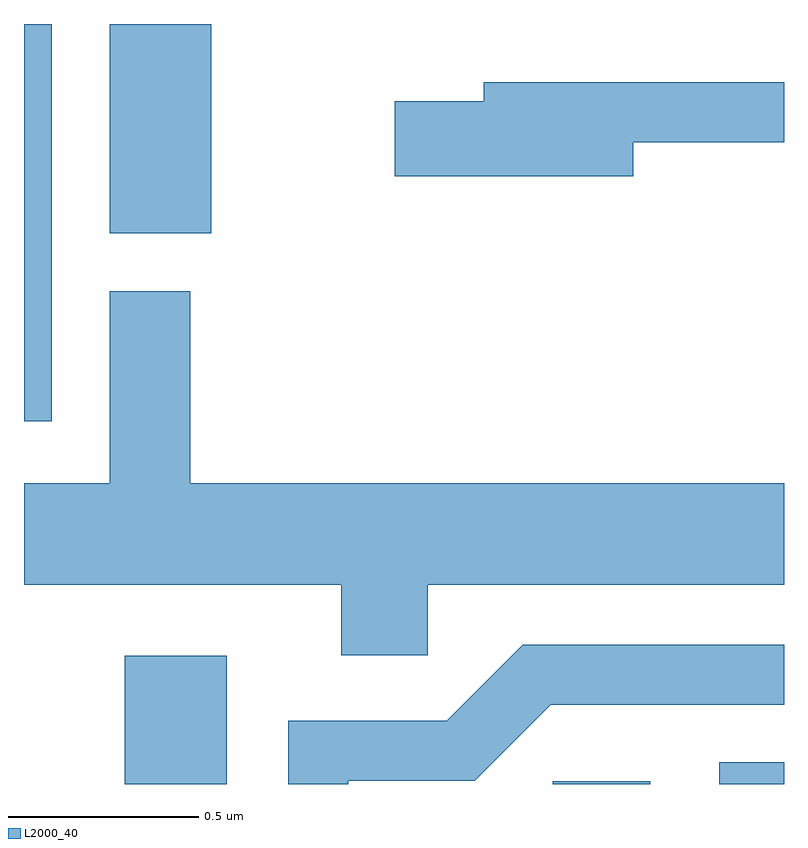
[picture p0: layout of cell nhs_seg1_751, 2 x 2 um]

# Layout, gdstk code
import gdstk
lib = gdstk.Library(unit=1e-6, precision=1e-09)
def R(c, l, rs):  # rectangles x0, y0, x1, y1
    for r in rs: c.add(gdstk.rectangle(r[:2], r[2:], *l))
def P(c, l, *ps):  # polygons
    for p in ps: c.add(gdstk.Polygon(p, *l))
L2000_40 = (2000, 40)

nhs_seg1_751 = lib.new_cell('nhs_seg1_751')
R(nhs_seg1_751, L2000_40, [(190.876,905.712,191.144,906.049), (192.003,905.712,192.259,905.719), (192.441,905.712,192.611,905.769), (190.611,906.666,190.684,907.712), (190.836,907.161,191.104,907.712)])
P(nhs_seg1_751, L2000_40, [(192.214,907.401),(192.611,907.401),(192.611,907.559),(191.821,907.559),(191.821,907.509),(191.586,907.509),(191.586,907.311),(192.214,907.311)],
  [(191.674,906.236),(192.611,906.236),(192.611,906.504),(191.049,906.504),(191.049,907.009),(190.836,907.009),(190.836,906.504),(190.611,906.504),(190.611,906.236),(191.446,906.236),(191.446,906.051),(191.674,906.051)],
  [(191.464,905.721),(191.797,905.721),(191.997,905.921),(192.611,905.921),(192.611,906.079),(191.924,906.079),(191.724,905.879),(191.306,905.879),(191.306,905.712),(191.464,905.712)])

lib.write_gds('nhs_seg1_751.gds')
